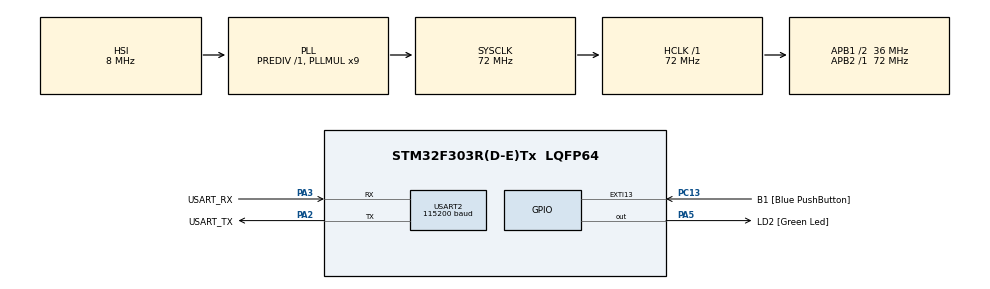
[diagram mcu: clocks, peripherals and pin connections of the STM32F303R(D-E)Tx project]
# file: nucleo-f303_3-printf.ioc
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Mcu.Family=STM32F3
Mcu.Name=STM32F303R(D-E)Tx
Mcu.Package=LQFP64
NVIC.PriorityGroup=NVIC_PRIORITYGROUP_0
PA13.GPIO_Label=TMS
PA13.Mode=Serial_Wire
PA13.Signal=SYS_JTMS-SWDIO
PA14.GPIO_Label=TCK
PA14.Mode=Serial_Wire
PA14.Signal=SYS_JTCK-SWCLK
PA2.GPIO_Label=USART_TX
PA2.GPIO_Mode=GPIO_MODE_AF_PP
PA2.GPIO_PuPd=GPIO_NOPULL
PA2.GPIO_Speed=GPIO_SPEED_FREQ_LOW
PA2.Mode=Asynchronous
PA2.Signal=USART2_TX
PA3.GPIO_Label=USART_RX
PA3.GPIO_Mode=GPIO_MODE_AF_PP
PA3.GPIO_PuPd=GPIO_NOPULL
PA3.GPIO_Speed=GPIO_SPEED_FREQ_LOW
PA3.Mode=Asynchronous
PA3.Signal=USART2_RX
PA5.GPIO_Label=LD2 [Green Led]
PA5.GPIO_Mode=GPIO_MODE_OUTPUT_PP
PA5.GPIO_PuPd=GPIO_NOPULL
PA5.GPIO_Speed=GPIO_SPEED_FREQ_LOW
PA5.Signal=GPIO_Output
PB3.GPIO_Label=SWO
PB3.Signal=SYS_JTDO-TRACESWO
PC13.GPIO_Label=B1 [Blue PushButton]
PC13.GPIO_ModeDefaultEXTI=GPIO_MODE_IT_FALLING
PC13.Signal=GPXTI13
PC14-OSC32_IN.Mode=LSE-External-Oscillator
PC14-OSC32_IN.Signal=RCC_OSC32_IN
PC15-OSC32_OUT.Mode=LSE-External-Oscillator
PC15-OSC32_OUT.Signal=RCC_OSC32_OUT
PF0-OSC_IN.Mode=HSE-External-Clock-Source
PF0-OSC_IN.Signal=RCC_OSC_IN
PF1-OSC_OUT.Signal=RCC_OSC_OUT
ProjectManager.HeapSize=0x200
ProjectManager.StackSize=0x400
ProjectManager.TargetToolchain=STM32CubeIDE
RCC.AHBFreq_Value=72000000
RCC.APB1CLKDivider=RCC_HCLK_DIV2
RCC.APB1Freq_Value=36000000
RCC.APB1TimFreq_Value=72000000
RCC.APB2Freq_Value=72000000
RCC.APB2TimFreq_Value=72000000
RCC.CortexFreq_Value=72000000
RCC.HCLKFreq_Value=72000000
RCC.HSE_VALUE=8000000
RCC.HSI_VALUE=8000000
RCC.PLLM=8
RCC.PLLMUL=RCC_PLL_MUL9
RCC.PLLN=336
RCC.PLLP=RCC_PLLP_DIV4
RCC.PLLQ=7
RCC.RCC_PLLsource_Clock_Source_FROM_HSE=RCC_HSE_PREDIV_DIV2
RCC.SYSCLKFreq_VALUE=72000000
RCC.SYSCLKSourceVirtual=RCC_SYSCLKSOURCE_PLLCLK
RCC.USBFreq_Value=72000000
USART2.BaudRate=115200
USART2.VirtualMode-Asynchronous=VM_ASYNC
board=NUCLEO-F303RE

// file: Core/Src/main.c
/* USER CODE BEGIN Header */
/**
  nucleo-f303_3-printf

  Demo kuinka aktivoidaan C-vakiokirjaston printf ja scanf-formatterit sulautetussa ympäristössä

  Kopioidaan tiedostosta syscalls.c funktiot _read ja _write sekä poistetaan attribuutti __attribute__((weak))
  Muokataan funktiot lukemaan ja kirjoittamaan UART2:lta/lle (tai mille UARTille halutaan)
  Funktiot printf ja scanf formattereineen ovat nyt toiminnassa halutulle UARTille

  */
/* USER CODE END Header */

#include "main.h"

/* USER CODE BEGIN Includes */
#include <stdio.h>
#include <errno.h>

/* USER CODE END Includes */

UART_HandleTypeDef huart2;

void SystemClock_Config(void);
static void MX_GPIO_Init(void);
static void MX_USART2_UART_Init(void);

/* USER CODE BEGIN 0 */

#include  <sys/unistd.h> // STDOUT_FILENO, STDERR_FILENO

int _read(int fd, char *ptr, int len) {
	  HAL_StatusTypeDef hstatus;
	if (fd == STDIN_FILENO ) {
		hstatus = HAL_UART_Receive(&huart2, (uint8_t *) ptr, 1, HAL_MAX_DELAY);
	    hstatus = HAL_UART_Transmit(&huart2, (uint8_t *) ptr, 1, HAL_MAX_DELAY);
	}
	return 1;
}

int _write(int fd, char* ptr, int len) {
  HAL_StatusTypeDef hstatus;

  if (fd == STDOUT_FILENO || fd == STDERR_FILENO) {
    hstatus = HAL_UART_Transmit(&huart2, (uint8_t *) ptr, len, HAL_MAX_DELAY);
    if (hstatus == HAL_OK)
      return len;
    else
      return EIO;
  }
  errno = EBADF;
  return -1;
}

/* USER CODE END 0 */

int main(void)
{
  /* USER CODE BEGIN 1 */
	  char buf[100];

  /* USER CODE END 1 */

  /* MCU Configuration--------------------------------------------------------*/

  /* Reset of all peripherals, Initializes the Flash interface and the Systick. */
  HAL_Init();

  /* Configure the system clock */
  SystemClock_Config();

  /* Initialize all configured peripherals */
  MX_GPIO_Init();
  MX_USART2_UART_Init();

  /* Infinite loop */
  /* USER CODE BEGIN WHILE */
  while (1)
  {
	  float numero = 100.0;
	    printf("\r\nYour name: ");
	    scanf("%s", buf);
	    printf("\r\nHello, %s, %f!\r\n", buf, numero);
    /* USER CODE END WHILE */

  }
}

void SystemClock_Config(void)
{
  RCC_OscInitTypeDef RCC_OscInitStruct = {0};
  RCC_ClkInitTypeDef RCC_ClkInitStruct = {0};
  RCC_PeriphCLKInitTypeDef PeriphClkInit = {0};

  /** Initializes the CPU, AHB and APB busses clocks
  */
  RCC_OscInitStruct.OscillatorType = RCC_OSCILLATORTYPE_HSI;
  RCC_OscInitStruct.HSIState = RCC_HSI_ON;
  RCC_OscInitStruct.HSICalibrationValue = RCC_HSICALIBRATION_DEFAULT;
  RCC_OscInitStruct.PLL.PLLState = RCC_PLL_ON;
  RCC_OscInitStruct.PLL.PLLSource = RCC_PLLSOURCE_HSI;
  RCC_OscInitStruct.PLL.PLLMUL = RCC_PLL_MUL9;
  RCC_OscInitStruct.PLL.PREDIV = RCC_PREDIV_DIV1;
  if (HAL_RCC_OscConfig(&RCC_OscInitStruct) != HAL_OK)
  {
    Error_Handler();
  }
  /** Initializes the CPU, AHB and APB busses clocks
  */
  RCC_ClkInitStruct.ClockType = RCC_CLOCKTYPE_HCLK|RCC_CLOCKTYPE_SYSCLK
                              |RCC_CLOCKTYPE_PCLK1|RCC_CLOCKTYPE_PCLK2;
  RCC_ClkInitStruct.SYSCLKSource = RCC_SYSCLKSOURCE_PLLCLK;
  RCC_ClkInitStruct.AHBCLKDivider = RCC_SYSCLK_DIV1;
  RCC_ClkInitStruct.APB1CLKDivider = RCC_HCLK_DIV2;
  RCC_ClkInitStruct.APB2CLKDivider = RCC_HCLK_DIV1;

  if (HAL_RCC_ClockConfig(&RCC_ClkInitStruct, FLASH_LATENCY_2) != HAL_OK)
  {
    Error_Handler();
  }
  PeriphClkInit.PeriphClockSelection = RCC_PERIPHCLK_USART2;
  PeriphClkInit.Usart2ClockSelection = RCC_USART2CLKSOURCE_PCLK1;
  if (HAL_RCCEx_PeriphCLKConfig(&PeriphClkInit) != HAL_OK)
  {
    Error_Handler();
  }
}

static void MX_USART2_UART_Init(void)
{

  huart2.Instance = USART2;
  huart2.Init.BaudRate = 115200;
  huart2.Init.WordLength = UART_WORDLENGTH_8B;
  huart2.Init.StopBits = UART_STOPBITS_1;
  huart2.Init.Parity = UART_PARITY_NONE;
  huart2.Init.Mode = UART_MODE_TX_RX;
  huart2.Init.HwFlowCtl = UART_HWCONTROL_NONE;
  huart2.Init.OverSampling = UART_OVERSAMPLING_16;
  huart2.Init.OneBitSampling = UART_ONE_BIT_SAMPLE_DISABLE;
  huart2.AdvancedInit.AdvFeatureInit = UART_ADVFEATURE_NO_INIT;
  if (HAL_UART_Init(&huart2) != HAL_OK)
  {
    Error_Handler();
  }

}

static void MX_GPIO_Init(void)
{
  GPIO_InitTypeDef GPIO_InitStruct = {0};

  /* GPIO Ports Clock Enable */
  __HAL_RCC_GPIOC_CLK_ENABLE();
  __HAL_RCC_GPIOF_CLK_ENABLE();
  __HAL_RCC_GPIOA_CLK_ENABLE();
  __HAL_RCC_GPIOB_CLK_ENABLE();

  /*Configure GPIO pin Output Level */
  HAL_GPIO_WritePin(LD2_GPIO_Port, LD2_Pin, GPIO_PIN_RESET);

  /*Configure GPIO pin : B1_Pin */
  GPIO_InitStruct.Pin = B1_Pin;
  GPIO_InitStruct.Mode = GPIO_MODE_IT_FALLING;
  GPIO_InitStruct.Pull = GPIO_NOPULL;
  HAL_GPIO_Init(B1_GPIO_Port, &GPIO_InitStruct);

  /*Configure GPIO pin : LD2_Pin */
  GPIO_InitStruct.Pin = LD2_Pin;
  GPIO_InitStruct.Mode = GPIO_MODE_OUTPUT_PP;
  GPIO_InitStruct.Pull = GPIO_NOPULL;
  GPIO_InitStruct.Speed = GPIO_SPEED_FREQ_LOW;
  HAL_GPIO_Init(LD2_GPIO_Port, &GPIO_InitStruct);

}

void Error_Handler(void)
{
}

/************************ (C) COPYRIGHT STMicroelectronics *****END OF FILE****/
